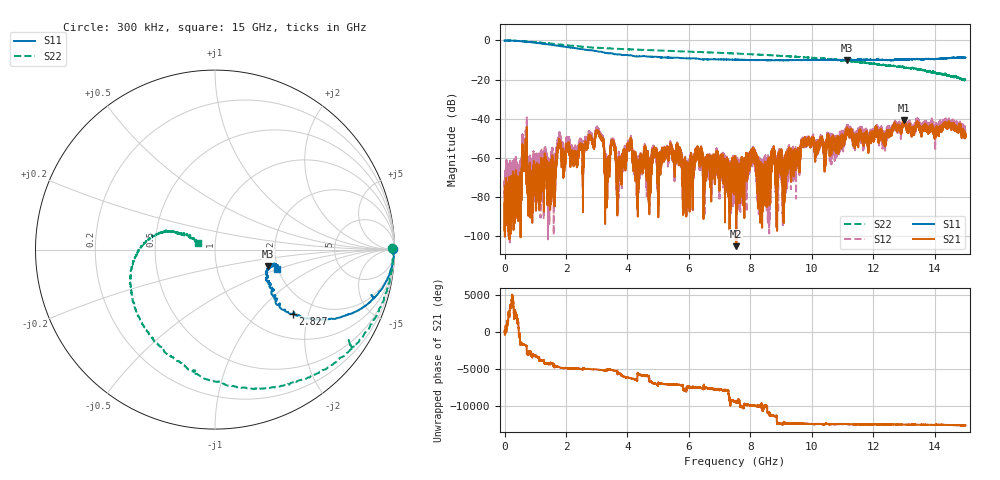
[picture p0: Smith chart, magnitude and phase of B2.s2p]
!Agilent Technologies,N5230C,SG49000117,A.08.50.07
!Agilent N5230C: A.08.50.07
!Date: Monday, December 11, 2023 21:21:23
!Correction: S11(Full 2 Port(1,2))
!S21(Full 2 Port(1,2))
!S12(Full 2 Port(1,2))
!S22(Full 2 Port(1,2))
!S2P File: Measurements: S11, S21, S12, S22:
# Hz S  RI  R 50
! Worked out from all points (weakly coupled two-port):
!   20001 points, 300 kHz to 15 GHz, reference 50 ohm
!   highest |S21| = -40.66 dB at 13.01 GHz (marker M1); lowest = -105.2 dB at 7.542 GHz (marker M2)
!   lowest |S11| = -10.2 dB at 11.14 GHz (marker M3), VSWR 1.90, Z = 89.3 - j18.5 ohm
!   |S11| at or under -10 dB: 8.103 GHz to 9.404 GHz (1.3 GHz wide, 14.9 % of centre); 9.606 GHz to 9.724 GHz (117.9 MHz wide, 1.22 % of centre); 11.08 GHz to 11.17 GHz (94 MHz wide, 0.845 % of centre) (the widest 3 of 273)
!   |S22| runs from -20.5 to 0.0 dB; largest |S21 - S12| = 0.0049
!   S11 on the Smith chart (normalised r, x): 300 kHz: open; 2.827 GHz: 1.53, -1.59; 15 GHz: 1.98, -0.49
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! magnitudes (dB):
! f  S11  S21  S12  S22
! 300 kHz  -0.1  -74.4  -71.5  -0.1
! 475 MHz  -0.3  -78.5  -69.0  -0.3
! 647.5 MHz  -0.6  -62.7  -60.6  -0.4
! 852.3 MHz  -0.9  -78.4  -60.6  -0.7
! 1.617 GHz  -2.5  -67.9  -70.1  -1.8
! 1.772 GHz  -2.8  -52.1  -48.3  -2.1
! 2.501 GHz  -4.5  -53.7  -51.9  -3.2
! 2.827 GHz  -5.0  -50.3  -48.3  -3.6
! 3.146 GHz  -5.8  -49.6  -48.5  -3.8
! 3.335 GHz  -6.4  -64.3  -64.5  -4.0
! 3.527 GHz  -6.7  -51.7  -51.1  -4.2
! 3.718 GHz  -7.1  -60.9  -63.3  -4.3
! 4.067 GHz  -7.6  -54.9  -51.8  -4.6
! 4.334 GHz  -8.1  -68.2  -74.5  -4.7
! 5 GHz  -8.5  -70.7  -70.2  -5.2
! 7.5 GHz  -9.8  -62.9  -66.5  -6.7
! 7.542 GHz  -9.8  -105.2  -67.8  -6.7
! 10 GHz  -10.0  -50.6  -50.6  -8.9
! 11.14 GHz  -10.2  -46.8  -45.3  -10.4
! 12.5 GHz  -10.0  -46.4  -45.3  -13.0
! 13.01 GHz  -9.7  -40.7  -41.6  -13.8
! 15 GHz  -8.8  -49.0  -50.5  -19.7
